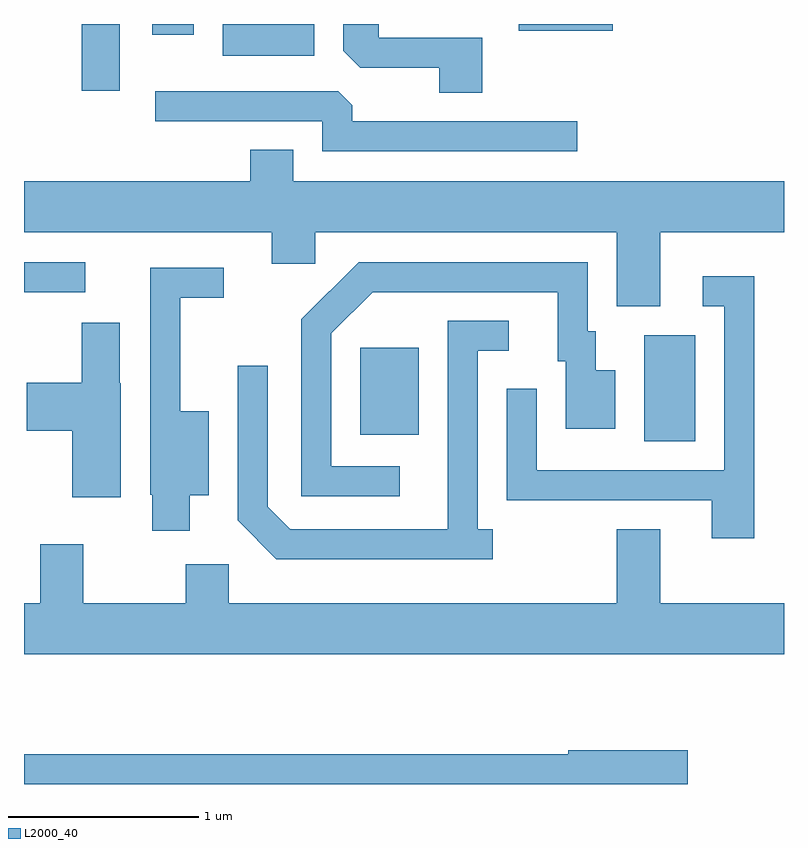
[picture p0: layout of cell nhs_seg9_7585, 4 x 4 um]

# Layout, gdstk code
import gdstk
lib = gdstk.Library(unit=1e-6, precision=1e-09)
def R(c, l, rs):  # rectangles x0, y0, x1, y1
    for r in rs: c.add(gdstk.rectangle(r[:2], r[2:], *l))
def P(c, l, *ps):  # polygons
    for p in ps: c.add(gdstk.Polygon(p, *l))
L2000_40 = (2000, 40)

nhs_seg9_7585 = lib.new_cell('nhs_seg9_7585')
R(nhs_seg9_7585, L2000_40, [(412.876,2026.236,413.144,2026.794), (411.381,2026.271,411.689,2026.729), (409.611,2027.021,409.933,2027.179), (409.916,2028.081,410.114,2028.432), (410.656,2028.266,411.139,2028.432), (410.286,2028.376,410.504,2028.432), (412.216,2028.396,412.709,2028.432)])
P(nhs_seg9_7585, L2000_40, [(412.024,2028.359),(411.479,2028.359),(411.479,2028.432),(411.291,2028.432),(411.291,2028.292),(411.382,2028.201),(411.796,2028.201),(411.796,2028.071),(412.024,2028.071)],
  [(412.523,2027.919),(411.339,2027.919),(411.339,2028.004),(411.264,2028.079),(410.303,2028.079),(410.303,2027.921),(411.181,2027.921),(411.181,2027.761),(412.523,2027.761)],
  [(412.959,2027.336),(413.611,2027.336),(413.611,2027.604),(411.029,2027.604),(411.029,2027.769),(410.801,2027.769),(410.801,2027.604),(409.611,2027.604),(409.611,2027.336),(410.916,2027.336),(410.916,2027.171),(411.144,2027.171),(411.144,2027.336),(412.731,2027.336),(412.731,2026.946),(412.959,2026.946)],
  [(411.588,2026.104),(411.229,2026.104),(411.229,2026.804),(411.447,2027.021),(412.421,2027.021),(412.421,2026.656),(412.461,2026.656),(412.461,2026.301),(412.724,2026.301),(412.724,2026.609),(412.619,2026.609),(412.619,2026.814),(412.579,2026.814),(412.579,2027.179),(411.374,2027.179),(411.071,2026.877),(411.071,2025.946),(411.588,2025.946)],
  [(410.484,2025.951),(410.584,2025.951),(410.584,2026.394),(410.434,2026.394),(410.434,2026.991),(410.663,2026.991),(410.663,2027.149),(410.276,2027.149),(410.276,2025.955),(410.286,2025.955),(410.286,2025.766),(410.484,2025.766)],
  [(413.454,2027.104),(413.183,2027.104),(413.183,2026.946),(413.296,2026.946),(413.296,2026.084),(412.309,2026.084),(412.309,2026.513),(412.151,2026.513),(412.151,2025.926),(413.231,2025.926),(413.231,2025.726),(413.454,2025.726)],
  [(412.078,2025.774),(411.999,2025.774),(411.999,2026.711),(412.163,2026.711),(412.163,2026.869),(411.841,2026.869),(411.841,2025.774),(411.012,2025.774),(410.894,2025.892),(410.894,2026.633),(410.736,2026.633),(410.736,2025.819),(410.939,2025.616),(412.078,2025.616)],
  [(410.119,2026.54),(410.114,2026.54),(410.114,2026.859),(409.916,2026.859),(409.916,2026.544),(409.626,2026.544),(409.626,2026.291),(409.866,2026.291),(409.866,2025.941),(410.119,2025.941)],
  [(413.611,2025.384),(412.959,2025.384),(412.959,2025.774),(412.731,2025.774),(412.731,2025.384),(410.689,2025.384),(410.689,2025.589),(410.461,2025.589),(410.461,2025.384),(409.924,2025.384),(409.924,2025.694),(409.696,2025.694),(409.696,2025.384),(409.611,2025.384),(409.611,2025.116),(413.611,2025.116)],
  [(413.104,2024.609),(412.476,2024.609),(412.476,2024.589),(409.611,2024.589),(409.611,2024.432),(413.104,2024.432)])

lib.write_gds('nhs_seg9_7585.gds')
